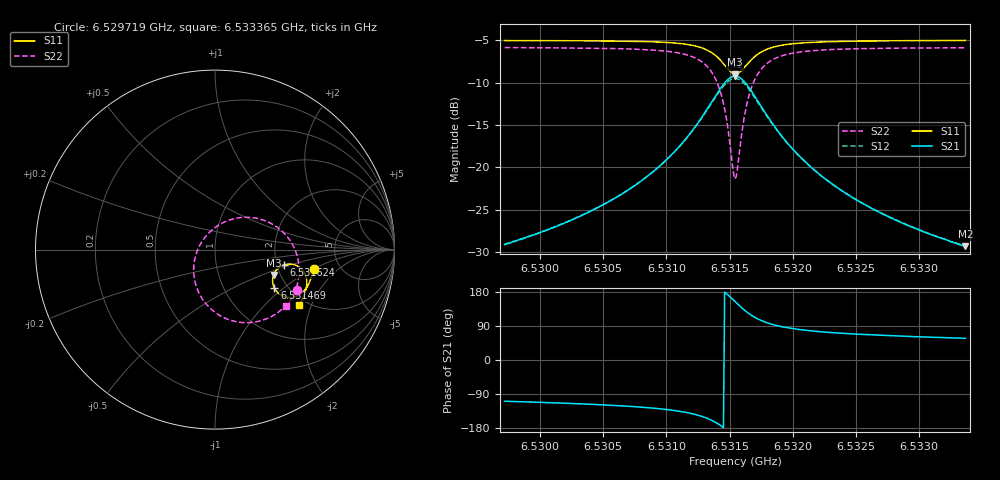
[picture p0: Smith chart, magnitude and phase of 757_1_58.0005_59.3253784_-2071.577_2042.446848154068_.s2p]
#  HZ  S  RI  R  50.00
! Rohde & Schwarz Vector Network Analyzer
! Rohde-Schwarz,ZNB20-2Port,1311601062101988,3.16
! Created: UTC 3/21/2024, 1:24:14 AM
! freq[Hz]  re:S11  im:S11  re:S21  im:S21  re:S12  im:S12  re:S22  im:S22
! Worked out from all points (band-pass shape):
!   401 points, 6.529719 GHz to 6.533365 GHz, reference 50 ohm
!   highest |S21| = -9.23 dB at 6.531542 GHz (marker M1); lowest = -29.3 dB at 6.533365 GHz (marker M2)
!   |S21| within 3 dB of the highest: 6.53136 GHz to 6.531725 GHz (365.1 kHz wide, 0.00559 % of centre)
!   lowest |S11| = -9.0 dB at 6.531542 GHz (marker M3), VSWR 2.11, Z = 92.3 - j29.8 ohm
!   |S11| at or under -10 dB: nowhere
!   |S22| runs from -21.4 to -5.9 dB; largest |S21 - S12| = 0.015
!   S11 on the Smith chart (normalised r, x): 6.529719 GHz: 3.20, -1.00; 6.531469 GHz: 1.71, -0.87; 6.531624 GHz: 2.19, -0.44; 6.533365 GHz: 1.81, -1.64
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6.5297189e9  0.5497 -0.1075  -0.0113 -0.033  -0.0121 -0.0329  0.4558 -0.2271
6.5303297e9  0.5357 -0.1594  -0.0226 -0.0468  -0.0239 -0.0463  0.4184 -0.2848
6.5306852e9  0.5209 -0.1937  -0.0382 -0.0616  -0.04 -0.0607  0.378 -0.3284
6.5309405e9  0.502 -0.2229  -0.0628 -0.079  -0.0651 -0.0769  0.3232 -0.3677
6.5311593e9  0.4689 -0.2523  -0.1118 -0.0986  -0.1148 -0.0944  0.2252 -0.4031
6.5313143e9  0.4174 -0.2673  -0.1923 -0.0986  -0.1941 -0.0901  0.0799 -0.3915
6.5314054e9  0.3663 -0.2532  -0.2703 -0.0581  -0.2673 -0.0462  -0.0462 -0.3068
6.5314419e9  0.3444 -0.2349  -0.3021 -0.0203  -0.2956 -0.00838  -0.0918 -0.2368
6.5314692e9  0.3308 -0.2145  -0.3202 0.0187  -0.3108 0.0296  -0.1139 -0.1686
6.5315239e9  0.3221 -0.1603  -0.3235 0.1162  -0.31 0.1215  -0.0995 -0.00825
6.5315422e9  0.3268 -0.141  -0.3116 0.1493  -0.298 0.1519  -0.0737 0.0431
6.5315604e9  0.3356 -0.1234  -0.2937 0.1792  -0.2803 0.1795  -0.0386 0.0885
6.5316242e9  0.3854 -0.0847  -0.2011 0.2431  -0.1928 0.2383  0.1239 0.1757
6.5316607e9  0.416 -0.0802  -0.1475 0.2499  -0.1421 0.2449  0.2141 0.1775
6.5316971e9  0.4422 -0.0843  -0.1028 0.2428  -0.0993 0.2387  0.2877 0.1574
6.5317518e9  0.4705 -0.0987  -0.0547 0.2205  -0.0525 0.2174  0.3655 0.1094
6.5318065e9  0.4885 -0.1158  -0.0242 0.195  -0.0228 0.193  0.4128 0.0585
6.5319342e9  0.5071 -0.1518  0.00873 0.1455  0.0101 0.1447  0.459 -0.0391
6.5321529e9  0.5114 -0.1947  0.0227 0.096  0.0241 0.0956  0.4678 -0.1397
6.5324355e9  0.5045 -0.2315  0.024 0.0645  0.025 0.0642  0.4537 -0.21
6.5327637e9  0.4927 -0.2633  0.022 0.0457  0.023 0.0453  0.4334 -0.2591
6.5333654e9  0.4681 -0.3099  0.0185 0.0287  0.0191 0.0283  0.398 -0.3162
